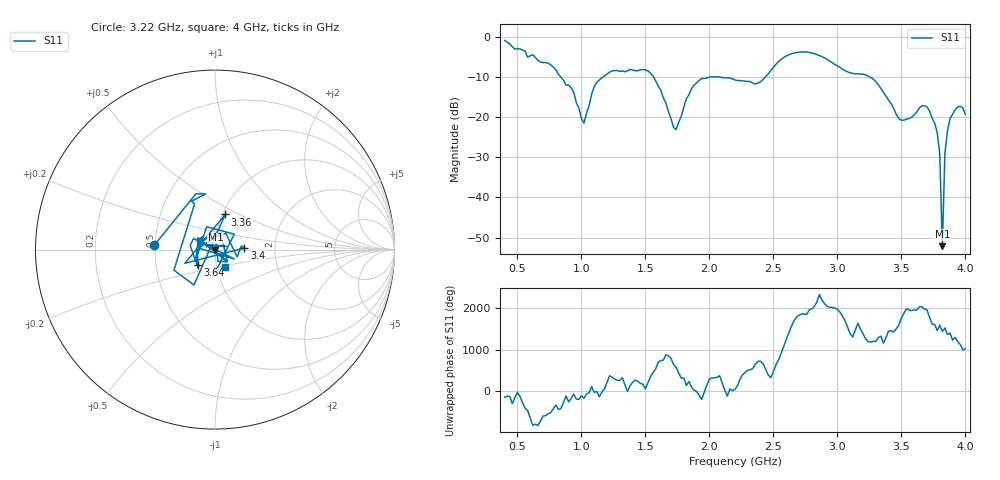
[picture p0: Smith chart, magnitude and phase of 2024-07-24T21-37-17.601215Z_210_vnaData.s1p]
!Created with skrf (http://scikit-rf.org).
# Hz S RI R 50.0
!freq ReS11 ImS11
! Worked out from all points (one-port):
!   181 points, 400 MHz to 4 GHz, reference 50 ohm
!   lowest |S11| = -52.2 dB at 3.82 GHz (marker M1), VSWR 1.00, Z = 50.2 - j0.0315 ohm
!   |S11| at or under -10 dB: 1.565 GHz to 1.994 GHz (428.8 MHz wide, 24.1 % of centre); 2.091 GHz to 2.434 GHz (343.1 MHz wide, 15.2 % of centre); 3.257 GHz to end of sweep (the widest 3 of 4)
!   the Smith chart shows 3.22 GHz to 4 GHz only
!   S11 on the Smith chart (normalised r, x): 3.22 GHz: 0.49, +0.03; 3.36 GHz: 1.03, +0.42; 3.4 GHz: 1.39, +0.03; 3.64 GHz: 0.81, -0.14; 4 GHz: 1.09, -0.21
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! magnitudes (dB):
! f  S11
! 400 MHz  -0.8
! 860 MHz  -10.7
! 940 MHz  -13.7
! 1.02 GHz  -21.5
! 1.12 GHz  -11.2
! 1.3 GHz  -8.5
! 1.52 GHz  -8.4
! 1.72 GHz  -22.5
! 1.76 GHz  -21.2
! 1.92 GHz  -10.8
! 2.2 GHz  -10.7
! 2.38 GHz  -11.4
! 2.66 GHz  -3.9
! 3.1 GHz  -8.9
! 3.22 GHz  -9.4
! 3.36 GHz  -13.8
! 3.4 GHz  -15.7
! 3.48 GHz  -20.3
! 3.56 GHz  -20.3
! 3.64 GHz  -17.7
! 3.7 GHz  -17.4
! 3.78 GHz  -23.8
! 3.8 GHz  -29.4
! 3.82 GHz  -52.2
! 3.84 GHz  -29.0
! 3.86 GHz  -23.4
! 3.94 GHz  -17.4
! 4 GHz  -19.2
